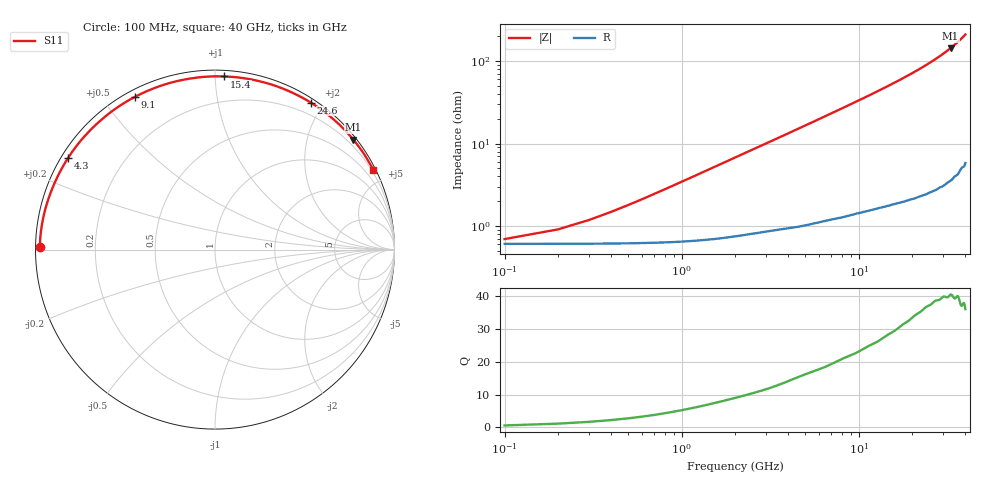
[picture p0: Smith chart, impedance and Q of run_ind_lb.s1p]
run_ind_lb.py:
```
########################################################################
# EM verification of Lb (LNA input inductor) with IHP's gds2openEMS workflow.
# Based on run_inductor_diffport.py from github.com/VolkerMuehlhaus/openems_ihp_sg13g2
# (GPL-3.0). One differential port between the two inductor terminals.
#
# Needs:  ind_lb.gds   (flattened, with a port box on layer 201 between the two terminals)
#         SG13G2.xml   (stackup file from the gds2openEMS workflow folder)
#         pip install gds2openEMS   (if not already installed)
# Run:    python3 run_ind_lb.py              -> 3-D preview of the model and mesh (check the port!)
#         python3 run_ind_lb.py --run        -> full simulation (can take tens of minutes)
########################################################################
import os, sys
from gds2openEMS import *
from openEMS import openEMS
import numpy as np
import matplotlib
import matplotlib.pyplot as plt

settings = {}
settings['preview_only'] = '--run' not in sys.argv

gds_filename = "ind_lb.gds"
XML_filename = "SG13G2.xml"
PORT_METAL   = "TopMetal2"     # metal layer of the two terminals the port connects
PORT_DIR     = "x"             # direction of the port: from one terminal to the other

# model prediction for comparison (from indmodel.py / lna_ind.spice)
MODEL = dict(L_pH=592.1, Q=14.4)
F_TARGET = 24.125e9

settings['preprocess_gds'] = False
settings['merge_polygon_size'] = 1.0
script_path = utilities.get_script_path(__file__)
model_basename = utilities.get_basename(__file__)
sim_path = utilities.create_sim_path(script_path, model_basename)
os.chdir(os.path.dirname(os.path.abspath(__file__)))

settings['unit']   = 1e-6
settings['margin'] = 200
settings['fstart']  = 0
settings['fstop']   = 40e9
settings['numfreq'] = 401
settings['refined_cellsize'] = 1.0     # 2 um in the conductor region: faster; use 1.0 for a final check
settings['Boundaries'] = ['PEC', 'PEC', 'PEC', 'PEC', 'PEC', 'PEC']
settings['cells_per_wavelength'] = 20
settings['energy_limit'] = -60

simulation_ports = simulation_setup.all_simulation_ports()
simulation_ports.add_port(simulation_setup.simulation_port(portnumber=1, voltage=1, port_Z0=50,
                          source_layernum=201, target_layername=PORT_METAL, direction=PORT_DIR))

materials_list, dielectrics_list, metals_list = stackup_reader.read_substrate(XML_filename)
layernumbers = metals_list.getlayernumbers()
layernumbers.extend(simulation_ports.portlayers)
allpolygons = gds_reader.read_gds(gds_filename, layernumbers, purposelist=[0], metals_list=metals_list,
                                  preprocess=settings['preprocess_gds'], merge_polygon_size=settings['merge_polygon_size'])

FDTD = openEMS(EndCriteria=np.exp(settings['energy_limit']/10 * np.log(10)))
FDTD.SetGaussExcite((settings['fstart']+settings['fstop'])/2, (settings['fstop']-settings['fstart'])/2)
FDTD.SetBoundaryCond(settings['Boundaries'])
settings.update(simulation_ports=simulation_ports, materials_list=materials_list, dielectrics_list=dielectrics_list,
                metals_list=metals_list, layernumbers=layernumbers, allpolygons=allpolygons,
                sim_path=sim_path, model_basename=model_basename, excite_portnumbers=[1])
simulation_setup.setupSimulation(FDTD=FDTD, settings=settings)
simulation_setup.runSimulation(FDTD=FDTD, settings=settings)

if not settings['preview_only']:
    f = np.linspace(settings['fstart'], settings['fstop'], settings['numfreq'])
    s11 = utilities.calculate_Sij(1, 1, f, sim_path, simulation_ports)
    Z0 = simulation_ports.get_reference_impedance()
    utilities.write_snp(np.array([s11]), f, os.path.join(sim_path, model_basename + '.s1p'), z0=Z0)
    np.seterr(divide='ignore', invalid='ignore')
    z = Z0 * (1 + s11) / (1 - s11)
    L, R, Q = z.imag / (2*np.pi*f), z.real, z.imag / z.real
    i = np.argmin(abs(f - F_TARGET))
    print(f"\nLb at {f[i]/1e9:.2f} GHz:   EM  L = {L[i]*1e12:6.1f} pH   R = {R[i]:5.2f} ohm   Q = {Q[i]:5.1f}")
    print(f"                    model L = {MODEL['L_pH']:6.1f} pH                 Q = {MODEL['Q']:5.1f}")
    print(f"Difference: L {100*(L[i]*1e12/MODEL['L_pH']-1):+.1f} %,  Q {100*(Q[i]/MODEL['Q']-1):+.1f} %")
    sel = f > 0.5e9
    fig, ax = plt.subplots(1, 2, figsize=(11, 4))
    ax[0].plot(f[sel]/1e9, L[sel]*1e12); ax[0].axhline(MODEL['L_pH'], ls='--', c='r', label='model')
    ax[0].set_xlabel('Frequency [GHz]'); ax[0].set_ylabel('L [pH]'); ax[0].set_ylim(0, 2*MODEL['L_pH']); ax[0].grid(alpha=.3); ax[0].legend()
    ax[1].plot(f[sel]/1e9, Q[sel]); ax[1].axhline(MODEL['Q'], ls='--', c='r', label='model at 24 GHz')
    ax[1].set_xlabel('Frequency [GHz]'); ax[1].set_ylabel('Q'); ax[1].set_ylim(0, 30); ax[1].grid(alpha=.3); ax[1].legend()
    for a in ax: a.axvline(F_TARGET/1e9, c='g', ls=':')
    plt.tight_layout(); plt.savefig('ind_lb_em.png', dpi=150); print("Saved ind_lb_em.png")
```
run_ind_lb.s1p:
#  Hz  S  RI  R  50
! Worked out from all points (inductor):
!   400 points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, 100 MHz to 40 GHz, reference 50 ohm
!   read as one part to ground: L = 539 pH near 600 MHz
!   highest Q = 40.5 at 33 GHz (marker M1), where L = 691 pH
!   S11 on the Smith chart (normalised r, x): 100 MHz: 0.01, +0.01; 4.3 GHz: 0.02, +0.29; 9.1 GHz: 0.03, +0.61; 15.4 GHz: 0.04, +1.05; 24.6 GHz: 0.05, +1.85; 40 GHz: 0.12, +4.20
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1e8  -0.9759 0.0132
2e9  -0.9364 0.2566
4.3e9  -0.8195 0.5095
6.7e9  -0.6447 0.7132
9.1e9  -0.4454 0.8513
1.12e10  -0.2694 0.9233
1.34e10  -0.0944 0.9591
1.54e10  0.0513 0.9648
1.77e10  0.2003 0.9484
1.99e10  0.3243 0.9165
2.46e10  0.5346 0.8185
2.67e10  0.608 0.7684
3.3e10  0.7713 0.6123
4e10  0.8816 0.4452
